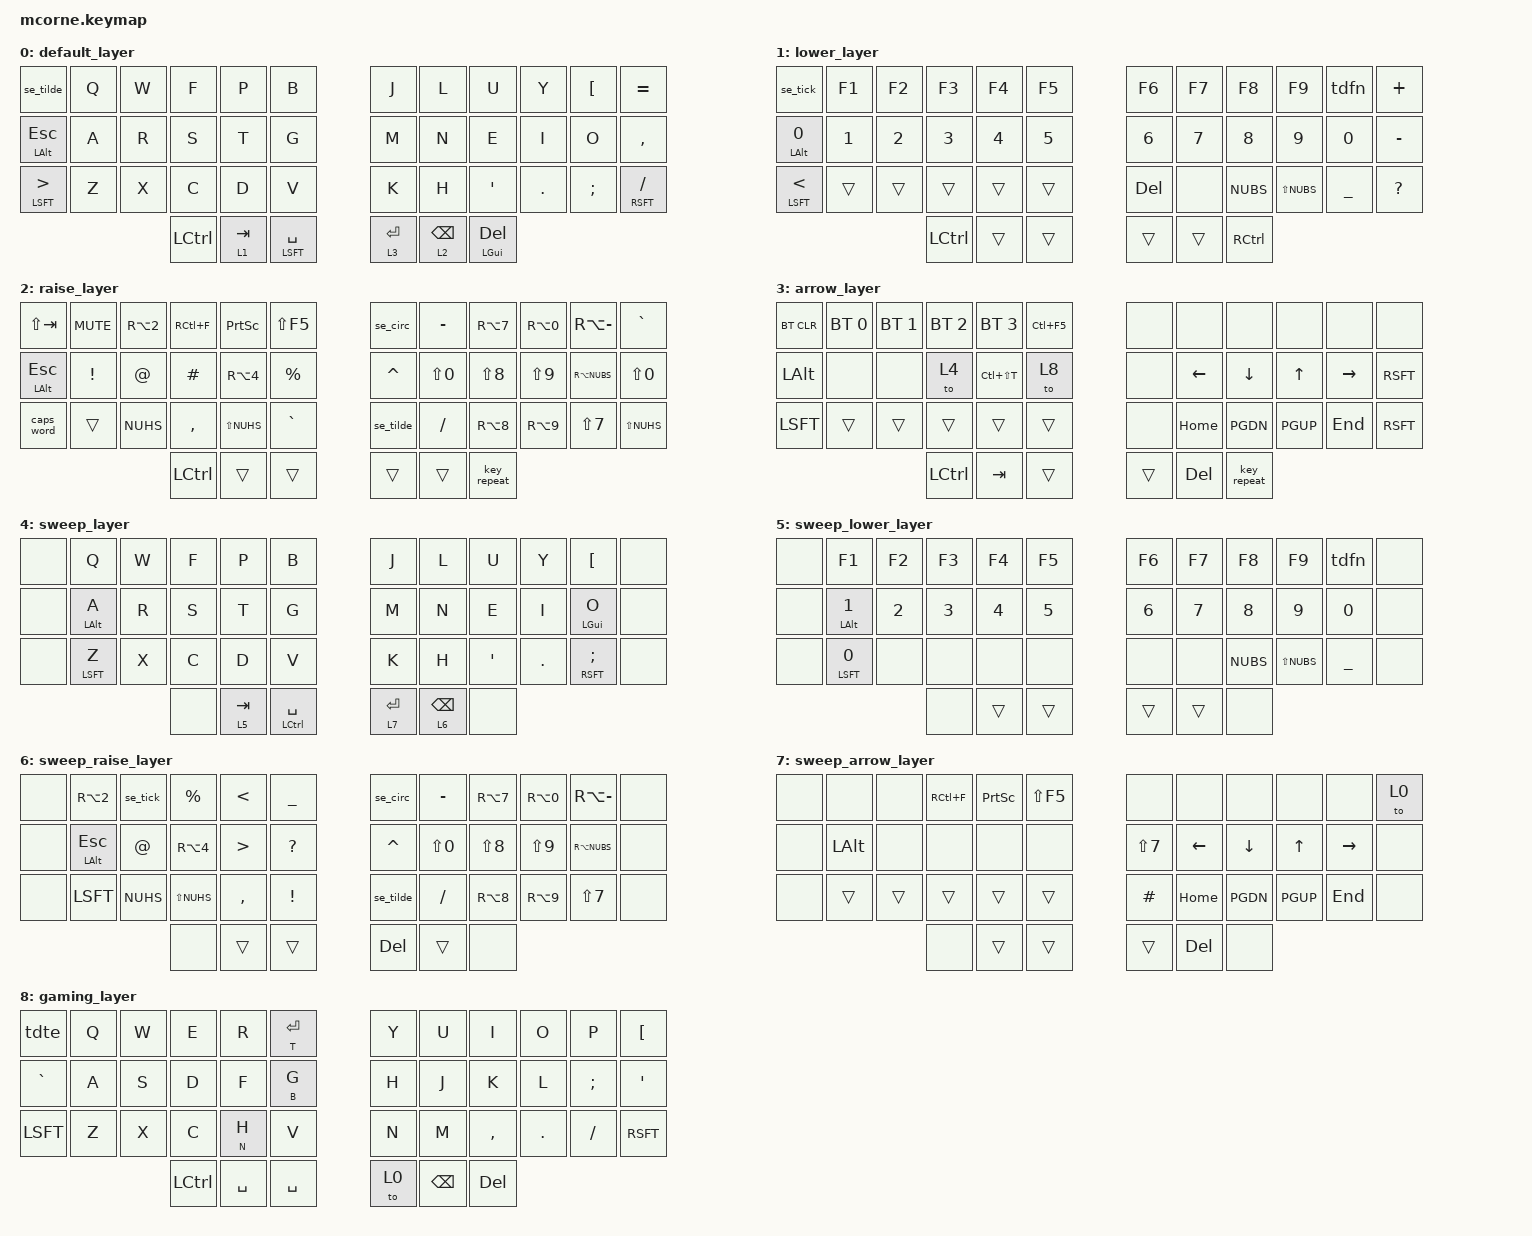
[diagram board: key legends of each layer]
/*
 * Copyright (c) 2020 The ZMK Contributors
 *
 * SPDX-License-Identifier: MIT
 */

#include <behaviors.dtsi>
#include <dt-bindings/zmk/keys.h>
#include <dt-bindings/zmk/bt.h>

/ {
    macros {

    ZMK_MACRO(se_tilde,
        wait-ms = <30>;
        tap-ms = <40>;
        bindings = <&kp RA(RBKT) &kp SPACE>;
    )

    ZMK_MACRO(se_tick,
        wait-ms = <30>;
        tap-ms = <40>;
        bindings = <&kp LS(EQUAL) &kp SPACE>;
    )

    ZMK_MACRO(se_circ,
        wait-ms = <30>;
        tap-ms = <40>;
        bindings = <&kp LS(RBKT) &kp SPACE>;
    )
 
    };
    behaviors {
        tu: hold_tap_repeat {
            compatible = "zmk,behavior-hold-tap";
            label = "HOLD_TAP_STANDARD";
            #binding-cells = <2>;
            tapping-term-ms = <280>;
            quick-tap-ms = <175>;
            global-quick-tap;
            flavor = "balanced";
            bindings = <&kp>, <&kp>;
        };

        ht: hold_tap_standard {
            compatible = "zmk,behavior-hold-tap";
            label = "HOLD_TAP_STANDARD";
            #binding-cells = <2>;
            tapping-term-ms = <200>;
            quick-tap-ms = <150>;
            flavor = "hold-preferred";
            bindings = <&kp>, <&kp>;
        };

        ly: custom_layer_tap {
            compatible = "zmk,behavior-hold-tap";
            label = "CUSTOM_LAYER_TAP";
            #binding-cells = <2>;
            tapping-term-ms = <250>;
            quick-tap-ms = <175>;
            flavor = "balanced";
            bindings = <&mo>, <&kp>;
        };

        td1: tap_dance1 {
            compatible = "zmk,behavior-tap-dance";
            label = "TAP_DANCE_1";
            #binding-cells = <0>;
            tapping-term-ms = <175>;
            bindings = <&sl 1>, <&tog 1>;
        };

        tdte: tap_dance2 {
            compatible = "zmk,behavior-tap-dance";
            label = "TAP_DANCE_2";
            #binding-cells = <0>;
            tapping-term-ms = <200>;
            bindings = <&kp TAB>, <&kp ESC>;
        };

        tdfn: tap_dance3 {
            compatible = "zmk,behavior-tap-dance";
            label = "TAP_DANCE_3";
            #binding-cells = <0>;
            tapping-term-ms = <200>;
            bindings = <&kp F10>, <&kp F11>, <&kp F12>;
        };

        
    };
    keymap {
                compatible = "zmk,keymap";

                default_layer {
// -----------------------------------------------------------------------------------------
// |  TAB |  Q  |  W  |  F  |  P  |  B  |   |  J  |  L   |  U  |  Y  |  Ö  |  Å   |
// | ALTE |  A  |  R  |  S  |  T  |  G  |   |  M  |  N   |  E  |  I  |  O  |  Ä   |
// | SH/: |  Z  |  X  |  C  |  V  |  B  |   |  K  |  H   |  ,  |  .  |  -  | SH/' |
//                    | CTL | LWR | SPC |   | ENT | RSE  | GUI/DEL |
                        bindings = <
   &se_tilde    &kp Q &kp W &kp F &kp P &kp B        &kp J &kp L  &kp U     &kp Y   &kp LBKT &kp EQUAL
   &tu LALT ESC &kp A &kp R &kp S &kp T &kp G        &kp M &kp N  &kp E     &kp I   &kp O    &kp COMMA
   &ht LSFT GT  &kp Z &kp X &kp C &kp D &kp V        &kp K &kp H  &kp SQT   &kp DOT &kp SEMI &tu RSFT FSLH
           &kp LCTRL &ly 1 TAB &tu LSFT SPACE        &ly 3 RET &ly 2 BSPC &tu LGUI DEL
                        >;
                };

                lower_layer {
// -----------------------------------------------------------------------------------------
// |  TAB |  1  |  2  |  3  |  4  |  5  |   |  6  |  7  |  8  |  9  |  0  | BKSP |
// | BTCLR| BT1 | BT2 | BT3 | BT4 | BT5 |   | LFT | DWN |  UP | RGT |     |      |
// | SHFT |     |     |     |     |     |   |     |     |     |     |     |      |
//                    | CTL |     | SPC |   | ENT |     | ALT |
                        bindings = <
   &se_tick       &kp F1       &kp F2       &kp F3       &kp F4       &kp F5         &kp F6   &kp F7   &kp F8    &kp F9       &tdfn     &kp PLUS
   &tu LALT N0    &kp N1       &kp N2       &kp N3       &kp N4       &kp N5         &kp N6   &kp N7   &kp N8    &kp N9       &kp N0    &kp MINUS
   &ht LSFT LT    &trans       &trans       &trans       &trans       &trans         &kp DEL  &none    &kp NUBS  &kp LS(NUBS) &kp UNDER &kp QMARK
                                            &kp LCTRL    &trans       &trans         &trans   &trans   &kp RCTRL
                        >;
                };

                raise_layer {
// -----------------------------------------------------------------------------------------
// | STAB | MUT |  @  |     | PSC | SF5  |   |  ^  |  ´  |  {  |  }  |  \  |  ~   |
// | ALTE |  !  |  "  |  #  |  $  |  %   |   |  &  |  /  |  (  |  )  |  |  |  =   |
// | CW   |  Z  |  X  |  C  |  D  |  V   |   |  |  |  `  |  [  |  ]  |  /  |  *   |
//                    | CTL | LWR | SSPC |   | ENT | RSE | ALT |
                        bindings = <
   &kp LS(TAB)  &kp C_MUTE &kp RA(N2)   &kp RC(F) &kp PSCRN    &kp LS(F5)     &se_circ      &kp MINUS  &kp RA(N7)  &kp RA(N0)  &kp RA(MINUS) &kp GRAVE
   &tu LALT ESC &kp EXCL   &kp AT       &kp HASH  &kp RA(N4)   &kp PRCNT      &kp CARET     &kp LS(N0) &kp LS(N8)  &kp LS(N9)  &kp RA(NUBS)  &kp LS(N0)
   &caps_word   &trans     &kp NUHS     &kp COMMA &kp LS(NUHS) &kp GRAVE      &se_tilde     &kp FSLH   &kp RA(N8)  &kp RA(N9)  &kp LS(N7)    &kp LS(NUHS)
                                        &kp LCTRL &trans     &trans           &trans        &trans     &key_repeat
                        >;
                };

                arrow_layer {
// -----------------------------------------------------------------------------------------
// | BTCLR| BT1 | BT2 | BT3 | BT4 | BT5 |   |     | LFT | DWN |  UP | RGT |      |
// | BTCLR| BT1 | BT2 | BT3 | BT4 | BT5 |   |     | LFT | DWN |  UP | RGT |      |
// | SHFT |     |     |     |     |     |   |     | HOM | PGD | PGU | END | RSFT |
//                    | GUI |     | SPC |   | ENT |     | RPT |
                        bindings = <
   &bt BT_CLR &bt BT_SEL 0 &bt BT_SEL 1 &bt BT_SEL 2 &bt BT_SEL 3  &kp LC(F5)     &none    &none    &none    &none     &none     &none
   &kp LALT   &none        &none        &to 4        &kp LC(LS(T)) &to 8          &none    &kp LEFT &kp DOWN &kp UP   &kp RIGHT &kp RSFT
   &kp LSFT   &trans       &trans       &trans       &trans        &trans         &none    &kp HOME &kp PGDN &kp PGUP &kp END   &kp RSFT
                                        &kp LCTRL    &kp TAB       &trans         &trans   &kp DEL  &key_repeat
                        >;
                };

                sweep_layer {
// -----------------------------------------------------------------------------------------
// |    |  Q  |  W  |  F  |  P  |  B  |   |  J  |  L   |  U  |  Y  |  Ö/Ä  |     |
// |    |  A  |  R  |  S  |  T  |  G  |   |  M  |  N   |  E  |  I  |  O/Å  |     |
// |    | C/Z |  X  |  C  |  V  |  B  |   |  K  |  H   |  ,  |  .  |  G/-  |     |
//                    |   | LWR | SPC |   | ENT | RSE  |     |
                        bindings = <
   &none &kp Q       &kp W &kp F &kp P &kp B         &kp J &kp L  &kp U    &kp Y   &kp LBKT      &none
   &none &tu LALT A  &kp R &kp S &kp T &kp G         &kp M &kp N  &kp E    &kp I   &tu LGUI O    &none
   &none &tu LSFT Z  &kp X &kp C &kp D &kp V         &kp K &kp H  &kp SQT  &kp DOT &tu RSFT SEMI &none
             &none   &ly 5 TAB   &tu LCTRL SPACE     &ly 7 RET &ly 6 BSPC &none
                        >;
                };

                sweep_lower_layer {
// -----------------------------------------------------------------------------------------
// |    | F1  | F2 | F3 |  F4 |  F5 |   | F6 | F7 | F8 |  F9 | F10+ |     |     
// |    | A/1 |  2 |  3 |   4 |   5 |   |  6 |  7 |  8 |   9 |  0   |     |
// |    | S-0 |    |    |     |     |   |    |  # |  < |   > |  ?   |     |
//                 |    | +++ | SPC |   | ENT | RSE |     |
                        bindings = <
   &none &kp F1          &kp F2    &kp F3    &kp F4    &kp F5         &kp F6   &kp F7    &kp F8    &kp F9       &tdfn        &none
   &none &tu LALT N1     &kp N2    &kp N3    &kp N4    &kp N5         &kp N6   &kp N7    &kp N8    &kp N9       &kp N0       &none
   &none &tu LSFT N0     &none     &none     &none     &none          &none    &none     &kp NUBS  &kp LS(NUBS) &kp UNDER    &none
                                   &none     &trans    &trans         &trans   &trans   &none
                        >;
                };

                sweep_raise_layer {
// -----------------------------------------------------------------------------------------
// |    |  @    |  `  |  %  |  ;  |  ?  |   |  ^  |  +  |  {  |  }  |  \  |     |
// |    | A-ESC |  "  |  $  |  :  |  _  |   |  &  |  =  |  (  |  )  |  |  |     |
// |    | CW    |  '  |  *  |  ,  |  !  |   |  ~  |  -  |  [  |  ]  |  /  |     |
//                  |     | LWR | SSPC |   | ENT | RSE |     |
                        bindings = <
   &none  &kp RA(N2)    &se_tick   &kp PRCNT    &kp LT    &kp UNDER       &se_circ     &kp MINUS    &kp RA(N7)  &kp RA(N0)  &kp RA(MINUS) &none
   &none  &tu LALT ESC  &kp AT     &kp RA(N4)   &kp GT    &kp QMARK       &kp CARET    &kp LS(N0)   &kp LS(N8)  &kp LS(N9)  &kp RA(NUBS)  &none
   &none  &kp LSFT      &kp NUHS   &kp LS(NUHS) &kp COMMA &kp EXCL        &se_tilde    &kp FSLH     &kp RA(N8)  &kp RA(N9)  &kp LS(N7)    &none
                                   &none     &trans     &trans            &kp DEL      &trans   &none
                        >;
                };

                sweep_arrow_layer {
// -----------------------------------------------------------------------------------------
// |    | MAL | MAP | C-F | PSCR | S-F5 |   |     | M-L | M-D | M-U | M-R |     |
// |    | A/A | M-2 | M-3 | M-1  | MAA  |   |  /  | LFT | DWN | UP  | RGT |     |
// |    | S/Z |  X  |  C  |  D   |  V   |   |  #  | HOM | PGD | PGU | END |     |
//                  |     | CTRL | SPC  |   | +++ | DEL |     |
                        bindings = <
   &none &none      &none        &kp RC(F)    &kp PSCRN     &kp LS(F5)     &none      &none    &none    &none     &none     &to 0
   &none &kp LALT   &none        &none        &none         &none          &kp LS(N7) &kp LEFT &kp DOWN &kp UP    &kp RIGHT &none     
   &none &trans     &trans       &trans       &trans        &trans         &kp HASH   &kp HOME &kp PGDN &kp PGUP  &kp END   &none  
                                     &none    &trans        &trans         &trans     &kp DEL &none
                        >;
                };

                gaming_layer {
// -----------------------------------------------------------------------------------------
// |  TAB |  Q  |  W  |  E  |  R  |  T  |   |  Y  |  U   |  I  |  O  |  P  | BKSP |
// | CTRL |  A  |  S  |  D  |  F  |  G  |   |  H  |  J   |  K  |  L  |  ;  |  '   |
// | SHFT |  Z  |  X  |  C  |  V  |  B  |   |  N  |  M   |  ,  |  .  |  /  | ESC  |
//                    | GUI | LWR | SPC |   | ENT | RSE  | ALT |
                        bindings = <
   &tdte     &kp Q &kp W &kp E &kp R   &ht T RET  &kp Y &kp U  &kp I     &kp O   &kp P    &kp LBKT
   &kp GRAVE &kp A &kp S &kp D &kp F   &ht B G    &kp H &kp J  &kp K     &kp L   &kp SEMI &kp SQT
   &kp LSFT  &kp Z &kp X &kp C &ht N H &kp V      &kp N &kp M  &kp COMMA &kp DOT &kp FSLH &kp RSFT
                   &kp LCTRL &kp SPACE &kp SPACE  &to 0 &kp BSPC &kp DEL
                        >;
                };
    };
};

